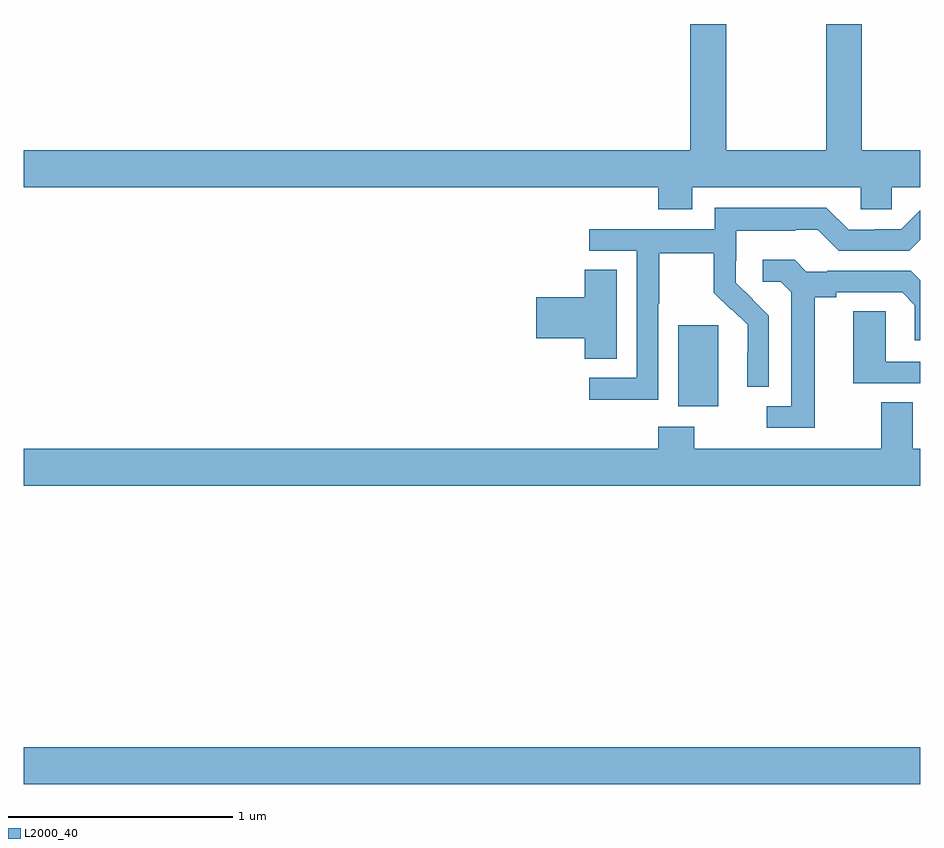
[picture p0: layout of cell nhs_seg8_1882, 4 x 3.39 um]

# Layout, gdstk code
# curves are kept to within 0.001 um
import gdstk
lib = gdstk.Library(unit=1e-6, precision=1e-09)
def R(c, l, rs):  # rectangles x0, y0, x1, y1
    for r in rs: c.add(gdstk.rectangle(r[:2], r[2:], *l))
def P(c, l, *ps):  # polygons
    for p in ps: c.add(gdstk.Polygon(p, *l))
L2000_40 = (2000, 40)

nhs_seg8_1882 = lib.new_cell('nhs_seg8_1882')
R(nhs_seg8_1882, L2000_40, [(231,1108.508,235,1108.672), (233.921,1110.194,234.1,1110.555)])
P(nhs_seg8_1882, L2000_40, [(233.983,1111.172),(234.735,1111.172),(234.735,1111.074),(234.873,1111.074),(234.873,1111.172),(235,1111.172),(235,1111.336),(234.74,1111.336),(234.74,1111.9),(234.58,1111.9),(234.58,1111.336),(234.135,1111.336),(234.135,1111.9),(233.975,1111.9),(233.975,1111.336),(231,1111.336),(231,1111.172),(233.831,1111.172),(233.831,1111.073),(233.983,1111.073)],
  [(233.832,1110.652),(233.835,1110.652),(233.835,1110.876),(234.079,1110.876),(234.079,1110.701),(234.156,1110.624),(234.159,1110.627),(234.23,1110.557),(234.23,1110.434),(234.228,1110.434),(234.228,1110.28),(234.324,1110.28),(234.324,1110.598),(234.178,1110.746),(234.178,1110.843),(234.18,1110.843),(234.18,1110.977),(234.443,1110.977),(234.443,1110.981),(234.543,1110.981),(234.636,1110.888),(234.951,1110.888),(235,1110.937),(235,1111.069),(234.915,1110.984),(234.797,1110.984),(234.797,1110.981),(234.681,1110.981),(234.581,1111.081),(234.084,1111.081),(234.084,1110.984),(233.523,1110.984),(233.523,1110.888),(233.736,1110.888),(233.736,1110.321),(233.523,1110.321),(233.523,1110.223),(233.832,1110.223)],
  [(234.529,1110.68),(234.625,1110.68),(234.625,1110.702),(234.92,1110.702),(234.977,1110.645),(234.977,1110.489),(235,1110.489),(235,1110.756),(234.958,1110.798),(234.586,1110.798),(234.586,1110.795),(234.492,1110.795),(234.44,1110.847),(234.297,1110.847),(234.297,1110.75),(234.378,1110.75),(234.425,1110.703),(234.425,1110.195),(234.315,1110.195),(234.315,1110.099),(234.529,1110.099)],
  [(233.647,1110.803),(233.504,1110.803),(233.504,1110.68),(233.286,1110.68),(233.286,1110.497),(233.504,1110.497),(233.504,1110.406),(233.647,1110.406)],
  [(235,1110.393),(234.846,1110.393),(234.846,1110.617),(234.701,1110.617),(234.701,1110.297),(235,1110.297)],
  [(233.831,1110.103),(233.831,1110.004),(231,1110.004),(231,1109.84),(235,1109.84),(235,1110.004),(234.967,1110.004),(234.967,1110.212),(234.827,1110.212),(234.827,1110.004),(233.991,1110.004),(233.991,1110.103)])

lib.write_gds('nhs_seg8_1882.gds')
